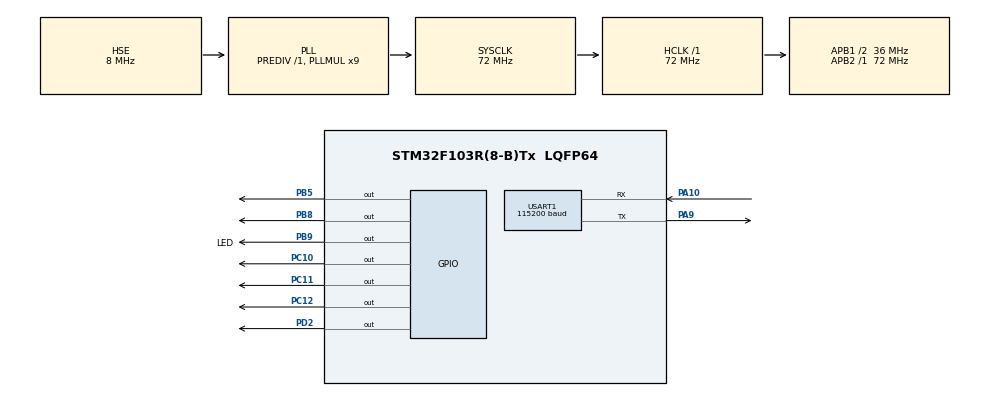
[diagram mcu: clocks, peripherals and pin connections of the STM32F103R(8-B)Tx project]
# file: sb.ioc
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Dma.Request0=USART1_TX
Dma.Request1=USART1_RX
Dma.USART1_RX.1.Direction=DMA_PERIPH_TO_MEMORY
Dma.USART1_RX.1.Instance=DMA1_Channel5
Dma.USART1_RX.1.MemDataAlignment=DMA_MDATAALIGN_BYTE
Dma.USART1_RX.1.MemInc=DMA_MINC_ENABLE
Dma.USART1_RX.1.Mode=DMA_NORMAL
Dma.USART1_RX.1.PeriphDataAlignment=DMA_PDATAALIGN_BYTE
Dma.USART1_RX.1.PeriphInc=DMA_PINC_DISABLE
Dma.USART1_RX.1.Priority=DMA_PRIORITY_LOW
Dma.USART1_TX.0.Direction=DMA_MEMORY_TO_PERIPH
Dma.USART1_TX.0.Instance=DMA1_Channel4
Dma.USART1_TX.0.MemDataAlignment=DMA_MDATAALIGN_BYTE
Dma.USART1_TX.0.MemInc=DMA_MINC_ENABLE
Dma.USART1_TX.0.Mode=DMA_NORMAL
Dma.USART1_TX.0.PeriphDataAlignment=DMA_PDATAALIGN_BYTE
Dma.USART1_TX.0.PeriphInc=DMA_PINC_DISABLE
Dma.USART1_TX.0.Priority=DMA_PRIORITY_LOW
Mcu.Family=STM32F1
Mcu.Name=STM32F103R(8-B)Tx
Mcu.Package=LQFP64
NVIC.DMA1_Channel4_IRQn=true\:0\:0\:false\:false\:true\:false\:true\:true
NVIC.DMA1_Channel5_IRQn=true\:0\:0\:false\:false\:true\:false\:true\:true
NVIC.PriorityGroup=NVIC_PRIORITYGROUP_4
NVIC.TIM3_IRQn=true\:0\:0\:false\:false\:true\:true\:true\:true
NVIC.USART1_IRQn=true\:0\:0\:false\:false\:true\:true\:true\:true
PA10.Mode=Asynchronous
PA10.Signal=USART1_RX
PA13.Mode=Serial_Wire
PA13.Signal=SYS_JTMS-SWDIO
PA14.Mode=Serial_Wire
PA14.Signal=SYS_JTCK-SWCLK
PA9.Mode=Asynchronous
PA9.Signal=USART1_TX
PB5.Signal=GPIO_Output
PB8.Signal=GPIO_Output
PB9.GPIO_Label=LED
PB9.GPIO_PuPd=GPIO_PULLUP
PB9.PinState=GPIO_PIN_SET
PB9.Signal=GPIO_Output
PC10.Signal=GPIO_Output
PC11.Signal=GPIO_Output
PC12.Signal=GPIO_Output
PC14-OSC32_IN.Mode=LSE-External-Oscillator
PC14-OSC32_IN.Signal=RCC_OSC32_IN
PC15-OSC32_OUT.Mode=LSE-External-Oscillator
PC15-OSC32_OUT.Signal=RCC_OSC32_OUT
PD0-OSC_IN.Mode=HSE-External-Oscillator
PD0-OSC_IN.Signal=RCC_OSC_IN
PD1-OSC_OUT.Mode=HSE-External-Oscillator
PD1-OSC_OUT.Signal=RCC_OSC_OUT
PD2.GPIO_Speed=GPIO_SPEED_FREQ_HIGH
PD2.Signal=GPIO_Output
ProjectManager.HeapSize=0x200
ProjectManager.StackSize=0x400
ProjectManager.TargetToolchain=MDK-ARM V5.32
RCC.AHBFreq_Value=72000000
RCC.APB1CLKDivider=RCC_HCLK_DIV2
RCC.APB1Freq_Value=36000000
RCC.APB1TimFreq_Value=72000000
RCC.APB2Freq_Value=72000000
RCC.APB2TimFreq_Value=72000000
RCC.HCLKFreq_Value=72000000
RCC.PLLMUL=RCC_PLL_MUL9
RCC.PLLSourceVirtual=RCC_PLLSOURCE_HSE
RCC.SYSCLKFreq_VALUE=72000000
RCC.SYSCLKSource=RCC_SYSCLKSOURCE_PLLCLK
RCC.USBFreq_Value=72000000
TIM3.Period=9
TIM3.Prescaler=71
USART1.BaudRate=115200
USART1.VirtualMode=VM_ASYNC
VP_TIM3_VS_ClockSourceINT.Mode=Internal
board=custom

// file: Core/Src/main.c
/* USER CODE BEGIN Header */
/**
  ******************************************************************************
  * @file           : main.c
  * @brief          : Main program body
  ******************************************************************************
  * @attention
  *
  * Copyright (c) 2024 STMicroelectronics.
  * All rights reserved.
  *
  * This software is licensed under terms that can be found in the LICENSE file
  * in the root directory of this software component.
  * If no LICENSE file comes with this software, it is provided AS-IS.
  *
  ******************************************************************************
  */
/* USER CODE END Header */
#include "main.h"
#include "dma.h"
#include "tim.h"
#include "usart.h"
#include "gpio.h"

/* USER CODE BEGIN Includes */
#include "stdio.h"
#include "math.h"
#include "printf.h"
#include "duoji.h"
#include "count_theta.h"
/* USER CODE END Includes */

/* USER CODE BEGIN PV */

uint16_t quare[19]= {150,157,150,150,155,143,128,
                         157,150,150,155,143,128,
                         157,150,150,155,143,128};
//quare1-6代表需要转到的位置
//quare7-12表示上次所在的位置
//quare13-18表示电机瞬时所在位置
uint16_t jiaodu = 0;

uint8_t RxFlag=0;
uint8_t RxBuffer[20];

#define LENGTH 100
uint8_t USART1_RxBuffer[LENGTH];
uint8_t RecCount = 0;
uint8_t Usart_RxFlag = 0;
uint8_t delay_time = 0;

double x0 = 0;
double y0 = 0;
double m = 0;
#define PI 3.14159265
double a1,a2,a3,angle1,angle2,angle3;

double theta1,theta2,theta3,theta4;
/* USER CODE END PV */

void SystemClock_Config(void);

int main(void)
{

    /* MCU Configuration--------------------------------------------------------*/

    /* Reset of all peripherals, Initializes the Flash interface and the Systick. */
    HAL_Init();

    /* Configure the system clock */
    SystemClock_Config();

    /* Initialize all configured peripherals */
    MX_GPIO_Init();
    MX_DMA_Init();
    MX_TIM3_Init();
    MX_USART1_UART_Init();
    /* USER CODE BEGIN 2 */
    HAL_TIM_Base_Init(&htim3);
    __HAL_TIM_CLEAR_IT(&htim3, TIM_IT_UPDATE);
    HAL_TIM_Base_Start_IT(&htim3);

//    HAL_UART_Receive_IT(&huart1, (uint8_t *)RxBuffer, 5 );

    __HAL_UART_ENABLE_IT(&huart1, UART_IT_IDLE);
    HAL_UART_Receive_DMA (&huart1, (uint8_t*)USART1_RxBuffer, LENGTH);

    /* USER CODE END 2 */

    /* Infinite loop */
    while (1)
    {

        /* USER CODE BEGIN 3 */
        HAL_GPIO_TogglePin(GPIOB,GPIO_PIN_9);
        HAL_Delay(100);
        /*任务4*/
        if(Usart_RxFlag == 1 )  //数据接收完成
        {
            if (USART1_RxBuffer[0] == '7')//7是标识符，说明进入夹取控制
            {
                //计算出theta
							  thetacount();

                quare[1]=162+theta4*50/45;
                quare[2]=150+theta1*50/45;
                quare[3]=150+theta2*50/45;
                quare[4]=155+theta3*50/45;
                quare[6]=150+34*50/45;

								control_duoji(4);
                control_duoji(3);
                control_duoji(1);
                control_duoji(2);
                control_duoji(6);
                HAL_Delay(1000);
                //拿起飞镖
                quare[2]=150+(theta1+45)*50/45;
                control_duoji(2);
                Usart_RxFlag = 0;//重置串口接收标志
            }

            if (USART1_RxBuffer[0] == '8')//8是标识符，说明进入放置控制
            {
                thetacount();

                quare[1]=162+theta4*50/45;
                quare[2]=150+theta1*50/45;
                quare[3]=150+theta2*50/45;
                quare[4]=155+theta3*50/45;

                control_duoji(4);
                control_duoji(3);
                control_duoji(1);
                control_duoji(2);
								HAL_Delay(1000);
								//放下飞镖
								quare[6]=150-20*50/45;
                control_duoji(6);
								//提起机械臂
                quare[2]=150+(theta1+45)*50/45;
								control_duoji(2);
                Usart_RxFlag = 0;//重置串口接收标志
            }

        }
    }
    /* USER CODE END 3 */
}

void SystemClock_Config(void)
{
    RCC_OscInitTypeDef RCC_OscInitStruct = {0};
    RCC_ClkInitTypeDef RCC_ClkInitStruct = {0};

    /** Initializes the RCC Oscillators according to the specified parameters
    * in the RCC_OscInitTypeDef structure.
    */
    RCC_OscInitStruct.OscillatorType = RCC_OSCILLATORTYPE_HSE;
    RCC_OscInitStruct.HSEState = RCC_HSE_ON;
    RCC_OscInitStruct.HSEPredivValue = RCC_HSE_PREDIV_DIV1;
    RCC_OscInitStruct.HSIState = RCC_HSI_ON;
    RCC_OscInitStruct.PLL.PLLState = RCC_PLL_ON;
    RCC_OscInitStruct.PLL.PLLSource = RCC_PLLSOURCE_HSE;
    RCC_OscInitStruct.PLL.PLLMUL = RCC_PLL_MUL9;
    if (HAL_RCC_OscConfig(&RCC_OscInitStruct) != HAL_OK)
    {
        Error_Handler();
    }

    /** Initializes the CPU, AHB and APB buses clocks
    */
    RCC_ClkInitStruct.ClockType = RCC_CLOCKTYPE_HCLK|RCC_CLOCKTYPE_SYSCLK
                                  |RCC_CLOCKTYPE_PCLK1|RCC_CLOCKTYPE_PCLK2;
    RCC_ClkInitStruct.SYSCLKSource = RCC_SYSCLKSOURCE_PLLCLK;
    RCC_ClkInitStruct.AHBCLKDivider = RCC_SYSCLK_DIV1;
    RCC_ClkInitStruct.APB1CLKDivider = RCC_HCLK_DIV2;
    RCC_ClkInitStruct.APB2CLKDivider = RCC_HCLK_DIV1;

    if (HAL_RCC_ClockConfig(&RCC_ClkInitStruct, FLASH_LATENCY_2) != HAL_OK)
    {
        Error_Handler();
    }
}

/* USER CODE BEGIN 4 */
//           HAL_GPIO_WritePin(GPIOB,GPIO_PIN_8,GPIO_PIN_SET);  //合正PB8，第六个舵机
//           HAL_GPIO_WritePin(GPIOB,GPIO_PIN_5,GPIO_PIN_SET);  //顺负PB5
//           HAL_GPIO_WritePin(GPIOD,GPIO_PIN_2,GPIO_PIN_SET);//里正PD2
//           HAL_GPIO_WritePin(GPIOC,GPIO_PIN_12,GPIO_PIN_SET);//里负PC12
//           HAL_GPIO_WritePin(GPIOC,GPIO_PIN_11,GPIO_PIN_SET);//里正PC11
//           HAL_GPIO_WritePin(GPIOC,GPIO_PIN_10,GPIO_PIN_SET);//顺负PC10，第一个舵机
int count=0;
void HAL_TIM_PeriodElapsedCallback(TIM_HandleTypeDef *htim)//定时器中断回调函数
{
    if(htim->Instance == TIM3)
    {
        count++;
        //第一个舵机
        if (count<quare[13])//高脉冲时长，取值范围0.5ms~2.5ms，定时器0.01ms进中断，则取值50~250
        {   //50->-90°,100->-45°,150->0,200->45°,250->90°
            HAL_GPIO_WritePin(GPIOC,GPIO_PIN_10,GPIO_PIN_SET);//顺负PC10
        }
        else if(count >= quare[13] && count <= 2000)
        {
            HAL_GPIO_WritePin(GPIOC,GPIO_PIN_10,GPIO_PIN_RESET);
        }
        //第二个舵机
        else if(count > 2000 && count < quare[14]+2000)
        {
            HAL_GPIO_WritePin(GPIOC,GPIO_PIN_11,GPIO_PIN_SET);//里正PC11
        }
        else if(count >= quare[14]+2000 && count <= 4000)
        {
            HAL_GPIO_WritePin(GPIOC,GPIO_PIN_11,GPIO_PIN_RESET);
        }
        //第三个舵机
        else if(count > 4000 && count < quare[15]+4000)
        {
            HAL_GPIO_WritePin(GPIOC,GPIO_PIN_12,GPIO_PIN_SET);//里负PC12
        }
        else if(count >= quare[15]+4000 && count <= 6000)
        {
            HAL_GPIO_WritePin(GPIOC,GPIO_PIN_12,GPIO_PIN_RESET);
        }
        //第四个舵机
        else if(count > 6000 && count < quare[16]+6000)
        {
            HAL_GPIO_WritePin(GPIOD,GPIO_PIN_2,GPIO_PIN_SET);//里正PD2
        }
        else if(count >= quare[16]+6000 && count <= 8000)
        {
            HAL_GPIO_WritePin(GPIOD,GPIO_PIN_2,GPIO_PIN_RESET);
        }
        //第五个舵机
        else if(count > 8000 && count < quare[17]+8000)
        {
            HAL_GPIO_WritePin(GPIOB,GPIO_PIN_5,GPIO_PIN_SET);  //顺负PB5
        }
        else if(count >= quare[17]+8000 && count <= 10000)
        {
            HAL_GPIO_WritePin(GPIOB,GPIO_PIN_5,GPIO_PIN_RESET);
        }
        //第六个舵机
        else if(count > 10000 && count < quare[18]+10000)
        {
            HAL_GPIO_WritePin(GPIOB,GPIO_PIN_8,GPIO_PIN_SET);  //合正PB8
        }
        else if(count >= quare[18]+10000 && count <= 12000)
        {
            HAL_GPIO_WritePin(GPIOB,GPIO_PIN_8,GPIO_PIN_RESET);
        }
        else if(count > 12000)
        {
            count = 0;
        }
        __HAL_TIM_CLEAR_IT(&htim3,TIM_IT_UPDATE);
    }

}

/* USER CODE END 4 */

void Error_Handler(void)
{
    __disable_irq();
    while (1)
    {
    }
}
